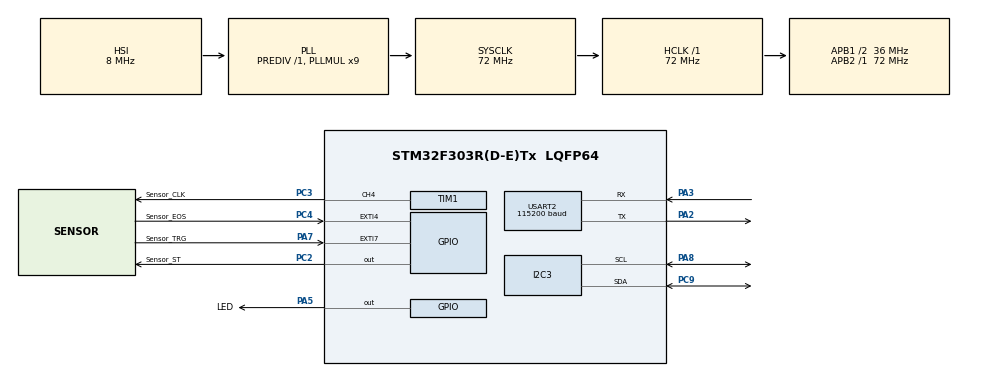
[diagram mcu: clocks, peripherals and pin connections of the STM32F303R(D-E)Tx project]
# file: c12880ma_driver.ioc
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Mcu.Family=STM32F3
Mcu.Name=STM32F303R(D-E)Tx
Mcu.Package=LQFP64
NVIC.EXTI9_5_IRQn=true\:0\:0\:true\:false\:true\:true\:true\:true
NVIC.PriorityGroup=NVIC_PRIORITYGROUP_4
NVIC.USART2_IRQn=true\:1\:0\:true\:false\:true\:true\:true\:true
PA2.Mode=Asynchronous
PA2.Signal=USART2_TX
PA3.Mode=Asynchronous
PA3.Signal=USART2_RX
PA5.GPIO_Label=LED
PA5.Signal=GPIO_Output
PA7.GPIO_Label=Sensor_TRG
PA7.GPIO_PuPd=GPIO_PULLDOWN
PA7.Signal=GPXTI7
PA8.Mode=I2C
PA8.Signal=I2C3_SCL
PC2.GPIO_Label=Sensor_ST
PC2.GPIO_PuPd=GPIO_PULLDOWN
PC2.Signal=GPIO_Output
PC3.GPIO_Label=Sensor_CLK
PC3.GPIO_PuPd=GPIO_PULLDOWN
PC3.Signal=S_TIM1_CH4
PC4.GPIO_Label=Sensor_EOS
PC4.GPIO_PuPd=GPIO_PULLDOWN
PC4.Signal=GPXTI4
PC9.Mode=I2C
PC9.Signal=I2C3_SDA
ProjectManager.HeapSize=0x200
ProjectManager.StackSize=0x400
ProjectManager.TargetToolchain=STM32CubeIDE
RCC.AHBFreq_Value=72000000
RCC.APB1CLKDivider=RCC_HCLK_DIV2
RCC.APB1Freq_Value=36000000
RCC.APB1TimFreq_Value=72000000
RCC.APB2Freq_Value=72000000
RCC.APB2TimFreq_Value=72000000
RCC.CortexFreq_Value=72000000
RCC.HCLKFreq_Value=72000000
RCC.HSE_VALUE=8000000
RCC.HSI_VALUE=8000000
RCC.LSE_VALUE=32768
RCC.PLLMUL=RCC_PLL_MUL9
RCC.SYSCLKFreq_VALUE=72000000
RCC.SYSCLKSourceVirtual=RCC_SYSCLKSOURCE_PLLCLK
RCC.USBFreq_Value=72000000
SH.S_TIM1_CH4.0=TIM1_CH4,PWM Generation4 CH4
TIM1.Channel-PWM\ Generation4\ CH4=TIM_CHANNEL_4
TIM1.Period=18-1
TIM1.Prescaler=4-1
TIM1.Pulse-PWM\ Generation4\ CH4=9
USART2.BaudRate=115200
USART2.VirtualMode-Asynchronous=VM_ASYNC
VP_TIM1_VS_ClockSourceINT.Mode=Internal
board=custom

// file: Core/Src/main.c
/* USER CODE BEGIN Header */
/**
  ******************************************************************************
  * @file           : main.c
  * @brief          : Main program body
  ******************************************************************************
  * @attention
  *
  * Copyright (c) 2023 STMicroelectronics.
  * All rights reserved.
  *
  * This software is licensed under terms that can be found in the LICENSE file
  * in the root directory of this software component.
  * If no LICENSE file comes with this software, it is provided AS-IS.
  *
  ******************************************************************************
  */
/* USER CODE END Header */
#include "main.h"

/* USER CODE BEGIN Includes */
#include <stdio.h>
#include <stdint.h>
#include "ads1115.h"
#include "c12880ma.h"

/* USER CODE END Includes */

I2C_HandleTypeDef hi2c3;

TIM_HandleTypeDef htim1;

UART_HandleTypeDef huart2;

/* USER CODE BEGIN PV */

ProtocolResponseFrame calibration_response;

uint16_t adc_data_rate = DEFAULT_ADC_DATA_RATE;
uint8_t adc_mode = DEFAULT_ADC_MODE;
uint16_t integration_time_main = DEFAULT_INTEGRATION_TIME;
uint8_t average_count_main = DEFAULT_AVG_COUNT;

/* USER CODE END PV */

void SystemClock_Config(void);
static void MX_GPIO_Init(void);
static void MX_I2C3_Init(void);
static void MX_USART2_UART_Init(void);
static void MX_TIM1_Init(void);

/* USER CODE BEGIN 0 */
#ifdef __GNUC__
#define PUTCHAR_PROTOTYPE int __io_putchar(int ch)
#else
#define PUTCHAR_PROTOTYPE int fputc(int ch, FILE *f)
#endif

PUTCHAR_PROTOTYPE
{
  HAL_UART_Transmit(&huart2, (uint8_t *)&ch, 1, HAL_MAX_DELAY);
  return ch;
}

// Define command structure
typedef struct {
  char* name;
  void (*handler)(char*);
} Command;

// Command functions
void start_scan(){
	sensorStartScan(integration_time_main, average_count_main);

	while(!sensorIsReady());
	printf("ACK\r\n");
}

void read_values(){
	ProtocolResponseFrame response;
	sensorRead(&response.spectrum);

	response.integrationTime = sensorGetIntegrationTime();
	response.averageCount = sensorGetAverageCount();
	response.start = PROTOCOL_START;
	response.dataStart = PROTOCOL_DATA_START;
	response.end = PROTOCOL_END;
	memset(response.pad, 0, PROTOCOL_PAD_SIZE);

	for(int i = 0; i < SENSOR_PIXEL_COUNT; i++){
		int val = response.spectrum[i] - calibration_response.spectrum[i];
		printf("%d,", val);
	}
	printf("\r\n");
	printf("ACK\r\n");
}

void cal_sensor(){
	sensorStartScan(integration_time_main, average_count_main);
	while(!sensorIsReady());

	sensorRead(&calibration_response.spectrum);
	printf("ACK\r\n");
}

void set_integration_time(char* time){
	if (time != NULL){
		int time_int = atoi(time);
		integration_time_main = time_int;
		printf("ACK\r\n");
	}
	else
	{
		printf("ERROR.\r\n");
	}
}

void set_avg_count(char* count){
	if (count != NULL){
		int count_int = atoi(count);
		average_count_main = count_int;
		printf("ACK\r\n");
	}
	else
	{
		printf("ERROR.\r\n");
	}
}

void set_adc_data_rate(char* data_rate){
	if (data_rate != NULL){
		int data_rate_int = atoi(data_rate);
		adc_data_rate = data_rate_int;
		printf("ACK\r\n");
	}
	else
	{
		printf("ERROR.\r\n");
	}
}

void set_adc_mode(char* mode){
	if (mode != NULL){
		int mode_int = atoi(mode);
		adc_mode = mode_int;
		printf("ACK\r\n");
	}
	else
	{
		printf("ERROR.\r\n");
	}
}

void get_integration_time(){
	printf("INTEGRATION TIME: %d\r\n", integration_time_main);
	printf("ACK\r\n");
}
void get_avg_count(){
	printf("AVG COUNT: %d\r\n", average_count_main);
	printf("ACK\r\n");
}
void get_adc_data_rate(){
	printf("ADC DATA RATE: %d\r\n", adc_data_rate);
	printf("ACK\r\n");
}
void get_adc_mode(){
	printf("ADC CONVERISON MODE: %d\r\n", adc_mode);
	printf("ACK\r\n");
}
void help(){
	printf("'start_scan': Start scan procedure with given integration time and average count.\r\n");
	printf("'cal_sensor': Calibrate sensor. Before calling this function please cover the sensor.\r\n");
	printf("'read_values': Print the last measurement of sensor to terminal.\r\n");
	printf("'set_integration_time [time]':  Sets the integration time of the sensor in microseconds. Adjustment in 400ns steps is possible. Default value is 0ns.\r\n");
	printf("'set_avg_count [count]': Sets the average count value of the sensor. Default value is 0.\r\n");
	printf("'set_adc_data_rate [rate]': Sets the data-rate of the ADS1115. Possible values in SPS: 8, 16, 32, 64, 128, 250, 475, 860. Default value is 860 SPS.\r\n");
	printf("'set_adc_mode [mode]': Set conversion mode of ADS1115. 1: single conversion, 0: continuous conversion\r\n");
	printf("'get_integration_time': Outputs set integration time.\r\n");
	printf("'get_avg_count': Outputs set average count.\r\n");
	printf("'get_adc_data_rate': Outputs set ADC data-rate.\r\n");
	printf("'get_adc_mode': Outputs set ADC Mode.\n");
	printf("'help': Help.\n");
}

// Define command list
Command commands[] = {
  {"start_scan", start_scan},
  {"cal_sensor", cal_sensor},
  {"read_values", read_values},
  {"set_integration_time", set_integration_time},
  {"set_avg_count", set_avg_count},
  {"set_adc_data_rate", set_adc_data_rate},
  {"set_adc_mode", set_adc_mode},
  {"get_integration_time", get_integration_time},
  {"get_avg_count", get_avg_count},
  {"get_adc_data_rate", get_adc_data_rate},
  {"get_adc_mode", get_adc_mode},
  {"help", help}
};

extern UART_HandleTypeDef huart2;
char cmdBuffer[CMD_BUFFER_SIZE];
uint8_t cmdIndex = 0;

// USART2 interrupt handler
void HAL_UART_RxCpltCallback(UART_HandleTypeDef *huart)
{
  cmdBuffer[cmdIndex++] = huart->Instance->RDR;

  if (cmdIndex == CMD_BUFFER_SIZE || cmdBuffer[cmdIndex - 1] == '\n')
  {
    cmdBuffer[cmdIndex] = '\0';
    char* cmdName = strtok(cmdBuffer, " \r\n");
    if (cmdName != NULL)
    {
      char* arg = strtok(NULL, " \r\n");
      if (arg != NULL)
      {
        uint8_t i;
        for (i = 0; i < sizeof(commands)/sizeof(commands[0]); i++)
        {
          if (strcmp(commands[i].name, cmdName) == 0)
          {
            commands[i].handler(arg);
            break;
          }
        }
      }
      else
      {
        uint8_t i;
        for (i = 0; i < sizeof(commands)/sizeof(commands[0]); i++)
        {
          if (strcmp(commands[i].name, cmdName) == 0)
          {
            commands[i].handler(NULL);
            break;
          }
        }
      }
    }
    cmdIndex = 0;
  }

  // Wait for the next character
  HAL_UART_Receive_IT(&huart2, (uint8_t*)cmdBuffer + cmdIndex, 1);
}

/* USER CODE END 0 */

int main(void)
{

  /* MCU Configuration--------------------------------------------------------*/

  /* Reset of all peripherals, Initializes the Flash interface and the Systick. */
  HAL_Init();

  /* Configure the system clock */
  SystemClock_Config();

  /* Initialize all configured peripherals */
  MX_GPIO_Init();
  MX_I2C3_Init();
  MX_USART2_UART_Init();
  MX_TIM1_Init();
  /* USER CODE BEGIN 2 */

  sensorInit();
  HAL_UART_Receive_IT(&huart2, (uint8_t*)cmdBuffer, 1);

  /* USER CODE END 2 */

  /* Infinite loop */
  while (1)
  {

  }
}

void SystemClock_Config(void)
{
  RCC_OscInitTypeDef RCC_OscInitStruct = {0};
  RCC_ClkInitTypeDef RCC_ClkInitStruct = {0};
  RCC_PeriphCLKInitTypeDef PeriphClkInit = {0};

  /** Initializes the RCC Oscillators according to the specified parameters
  * in the RCC_OscInitTypeDef structure.
  */
  RCC_OscInitStruct.OscillatorType = RCC_OSCILLATORTYPE_HSI;
  RCC_OscInitStruct.HSIState = RCC_HSI_ON;
  RCC_OscInitStruct.HSICalibrationValue = RCC_HSICALIBRATION_DEFAULT;
  RCC_OscInitStruct.PLL.PLLState = RCC_PLL_ON;
  RCC_OscInitStruct.PLL.PLLSource = RCC_PLLSOURCE_HSI;
  RCC_OscInitStruct.PLL.PLLMUL = RCC_PLL_MUL9;
  RCC_OscInitStruct.PLL.PREDIV = RCC_PREDIV_DIV1;
  if (HAL_RCC_OscConfig(&RCC_OscInitStruct) != HAL_OK)
  {
    Error_Handler();
  }

  /** Initializes the CPU, AHB and APB buses clocks
  */
  RCC_ClkInitStruct.ClockType = RCC_CLOCKTYPE_HCLK|RCC_CLOCKTYPE_SYSCLK
                              |RCC_CLOCKTYPE_PCLK1|RCC_CLOCKTYPE_PCLK2;
  RCC_ClkInitStruct.SYSCLKSource = RCC_SYSCLKSOURCE_PLLCLK;
  RCC_ClkInitStruct.AHBCLKDivider = RCC_SYSCLK_DIV1;
  RCC_ClkInitStruct.APB1CLKDivider = RCC_HCLK_DIV2;
  RCC_ClkInitStruct.APB2CLKDivider = RCC_HCLK_DIV1;

  if (HAL_RCC_ClockConfig(&RCC_ClkInitStruct, FLASH_LATENCY_2) != HAL_OK)
  {
    Error_Handler();
  }
  PeriphClkInit.PeriphClockSelection = RCC_PERIPHCLK_USART2|RCC_PERIPHCLK_I2C3
                              |RCC_PERIPHCLK_TIM1;
  PeriphClkInit.Usart2ClockSelection = RCC_USART2CLKSOURCE_PCLK1;
  PeriphClkInit.I2c3ClockSelection = RCC_I2C3CLKSOURCE_HSI;
  PeriphClkInit.Tim1ClockSelection = RCC_TIM1CLK_HCLK;
  if (HAL_RCCEx_PeriphCLKConfig(&PeriphClkInit) != HAL_OK)
  {
    Error_Handler();
  }
}

static void MX_I2C3_Init(void)
{

  hi2c3.Instance = I2C3;
  hi2c3.Init.Timing = 0x2000090E;
  hi2c3.Init.OwnAddress1 = 0;
  hi2c3.Init.AddressingMode = I2C_ADDRESSINGMODE_7BIT;
  hi2c3.Init.DualAddressMode = I2C_DUALADDRESS_DISABLE;
  hi2c3.Init.OwnAddress2 = 0;
  hi2c3.Init.OwnAddress2Masks = I2C_OA2_NOMASK;
  hi2c3.Init.GeneralCallMode = I2C_GENERALCALL_DISABLE;
  hi2c3.Init.NoStretchMode = I2C_NOSTRETCH_DISABLE;
  if (HAL_I2C_Init(&hi2c3) != HAL_OK)
  {
    Error_Handler();
  }

  /** Configure Analogue filter
  */
  if (HAL_I2CEx_ConfigAnalogFilter(&hi2c3, I2C_ANALOGFILTER_ENABLE) != HAL_OK)
  {
    Error_Handler();
  }

  /** Configure Digital filter
  */
  if (HAL_I2CEx_ConfigDigitalFilter(&hi2c3, 0) != HAL_OK)
  {
    Error_Handler();
  }

}

static void MX_TIM1_Init(void)
{

  TIM_ClockConfigTypeDef sClockSourceConfig = {0};
  TIM_MasterConfigTypeDef sMasterConfig = {0};
  TIM_OC_InitTypeDef sConfigOC = {0};
  TIM_BreakDeadTimeConfigTypeDef sBreakDeadTimeConfig = {0};

  htim1.Instance = TIM1;
  htim1.Init.Prescaler = 4-1;
  htim1.Init.CounterMode = TIM_COUNTERMODE_UP;
  htim1.Init.Period = 18-1;
  htim1.Init.ClockDivision = TIM_CLOCKDIVISION_DIV1;
  htim1.Init.RepetitionCounter = 0;
  htim1.Init.AutoReloadPreload = TIM_AUTORELOAD_PRELOAD_DISABLE;
  if (HAL_TIM_Base_Init(&htim1) != HAL_OK)
  {
    Error_Handler();
  }
  sClockSourceConfig.ClockSource = TIM_CLOCKSOURCE_INTERNAL;
  if (HAL_TIM_ConfigClockSource(&htim1, &sClockSourceConfig) != HAL_OK)
  {
    Error_Handler();
  }
  if (HAL_TIM_PWM_Init(&htim1) != HAL_OK)
  {
    Error_Handler();
  }
  sMasterConfig.MasterOutputTrigger = TIM_TRGO_RESET;
  sMasterConfig.MasterOutputTrigger2 = TIM_TRGO2_RESET;
  sMasterConfig.MasterSlaveMode = TIM_MASTERSLAVEMODE_DISABLE;
  if (HAL_TIMEx_MasterConfigSynchronization(&htim1, &sMasterConfig) != HAL_OK)
  {
    Error_Handler();
  }
  sConfigOC.OCMode = TIM_OCMODE_PWM1;
  sConfigOC.Pulse = 9;
  sConfigOC.OCPolarity = TIM_OCPOLARITY_HIGH;
  sConfigOC.OCFastMode = TIM_OCFAST_DISABLE;
  sConfigOC.OCIdleState = TIM_OCIDLESTATE_RESET;
  sConfigOC.OCNIdleState = TIM_OCNIDLESTATE_RESET;
  if (HAL_TIM_PWM_ConfigChannel(&htim1, &sConfigOC, TIM_CHANNEL_4) != HAL_OK)
  {
    Error_Handler();
  }
  sBreakDeadTimeConfig.OffStateRunMode = TIM_OSSR_DISABLE;
  sBreakDeadTimeConfig.OffStateIDLEMode = TIM_OSSI_DISABLE;
  sBreakDeadTimeConfig.LockLevel = TIM_LOCKLEVEL_OFF;
  sBreakDeadTimeConfig.DeadTime = 0;
  sBreakDeadTimeConfig.BreakState = TIM_BREAK_DISABLE;
  sBreakDeadTimeConfig.BreakPolarity = TIM_BREAKPOLARITY_HIGH;
  sBreakDeadTimeConfig.BreakFilter = 0;
  sBreakDeadTimeConfig.Break2State = TIM_BREAK2_DISABLE;
  sBreakDeadTimeConfig.Break2Polarity = TIM_BREAK2POLARITY_HIGH;
  sBreakDeadTimeConfig.Break2Filter = 0;
  sBreakDeadTimeConfig.AutomaticOutput = TIM_AUTOMATICOUTPUT_DISABLE;
  if (HAL_TIMEx_ConfigBreakDeadTime(&htim1, &sBreakDeadTimeConfig) != HAL_OK)
  {
    Error_Handler();
  }
  HAL_TIM_MspPostInit(&htim1);

}

static void MX_USART2_UART_Init(void)
{

  huart2.Instance = USART2;
  huart2.Init.BaudRate = 115200;
  huart2.Init.WordLength = UART_WORDLENGTH_8B;
  huart2.Init.StopBits = UART_STOPBITS_1;
  huart2.Init.Parity = UART_PARITY_NONE;
  huart2.Init.Mode = UART_MODE_TX_RX;
  huart2.Init.HwFlowCtl = UART_HWCONTROL_NONE;
  huart2.Init.OverSampling = UART_OVERSAMPLING_16;
  huart2.Init.OneBitSampling = UART_ONE_BIT_SAMPLE_DISABLE;
  huart2.AdvancedInit.AdvFeatureInit = UART_ADVFEATURE_NO_INIT;
  if (HAL_UART_Init(&huart2) != HAL_OK)
  {
    Error_Handler();
  }

}

static void MX_GPIO_Init(void)
{
  GPIO_InitTypeDef GPIO_InitStruct = {0};

  /* GPIO Ports Clock Enable */
  __HAL_RCC_GPIOC_CLK_ENABLE();
  __HAL_RCC_GPIOA_CLK_ENABLE();

  /*Configure GPIO pin Output Level */
  HAL_GPIO_WritePin(Sensor_ST_GPIO_Port, Sensor_ST_Pin, GPIO_PIN_RESET);

  /*Configure GPIO pin Output Level */
  HAL_GPIO_WritePin(LED_GPIO_Port, LED_Pin, GPIO_PIN_RESET);

  /*Configure GPIO pin : Sensor_ST_Pin */
  GPIO_InitStruct.Pin = Sensor_ST_Pin;
  GPIO_InitStruct.Mode = GPIO_MODE_OUTPUT_PP;
  GPIO_InitStruct.Pull = GPIO_PULLDOWN;
  GPIO_InitStruct.Speed = GPIO_SPEED_FREQ_LOW;
  HAL_GPIO_Init(Sensor_ST_GPIO_Port, &GPIO_InitStruct);

  /*Configure GPIO pin : LED_Pin */
  GPIO_InitStruct.Pin = LED_Pin;
  GPIO_InitStruct.Mode = GPIO_MODE_OUTPUT_PP;
  GPIO_InitStruct.Pull = GPIO_NOPULL;
  GPIO_InitStruct.Speed = GPIO_SPEED_FREQ_LOW;
  HAL_GPIO_Init(LED_GPIO_Port, &GPIO_InitStruct);

  /*Configure GPIO pin : Sensor_TRG_Pin */
  GPIO_InitStruct.Pin = Sensor_TRG_Pin;
  GPIO_InitStruct.Mode = GPIO_MODE_IT_RISING;
  GPIO_InitStruct.Pull = GPIO_PULLDOWN;
  HAL_GPIO_Init(Sensor_TRG_GPIO_Port, &GPIO_InitStruct);

  /*Configure GPIO pin : Sensor_EOS_Pin */
  GPIO_InitStruct.Pin = Sensor_EOS_Pin;
  GPIO_InitStruct.Mode = GPIO_MODE_IT_RISING;
  GPIO_InitStruct.Pull = GPIO_PULLDOWN;
  HAL_GPIO_Init(Sensor_EOS_GPIO_Port, &GPIO_InitStruct);

  /* EXTI interrupt init*/
  HAL_NVIC_SetPriority(EXTI9_5_IRQn, 0, 0);
  HAL_NVIC_EnableIRQ(EXTI9_5_IRQn);

}

void Error_Handler(void)
{
  __disable_irq();
  while (1)
  {
  }
}
